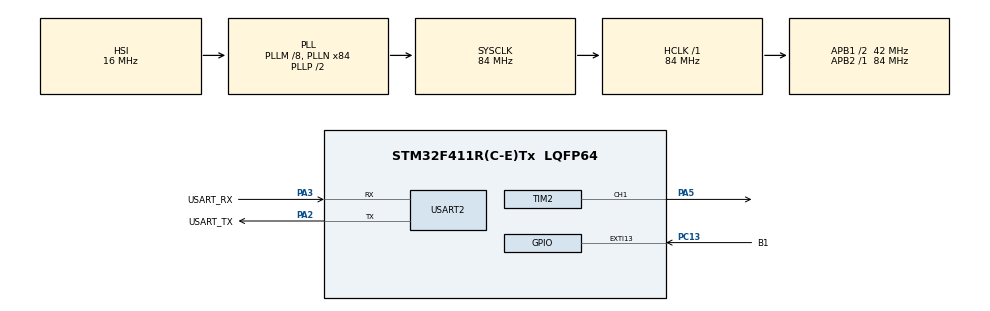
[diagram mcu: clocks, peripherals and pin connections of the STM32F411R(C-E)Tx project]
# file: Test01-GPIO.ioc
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Mcu.Family=STM32F4
Mcu.Name=STM32F411R(C-E)Tx
Mcu.Package=LQFP64
NVIC.EXTI15_10_IRQn=true\:0\:0\:false\:false\:true\:true\:true\:true
NVIC.PriorityGroup=NVIC_PRIORITYGROUP_0
NVIC.TIM3_IRQn=true\:0\:0\:false\:false\:true\:true\:true\:true
PA13.GPIO_Label=TMS
PA13.Mode=Serial_Wire
PA13.Signal=SYS_JTMS-SWDIO
PA14.GPIO_Label=TCK
PA14.Mode=Serial_Wire
PA14.Signal=SYS_JTCK-SWCLK
PA2.GPIO_Label=USART_TX
PA2.Mode=Asynchronous
PA2.Signal=USART2_TX
PA3.GPIO_Label=USART_RX
PA3.Mode=Asynchronous
PA3.Signal=USART2_RX
PA5.Signal=S_TIM2_CH1_ETR
PB3.GPIO_Label=SWO
PB3.Signal=SYS_JTDO-SWO
PC13-ANTI_TAMP.GPIO_Label=B1
PC13-ANTI_TAMP.GPIO_ModeDefaultEXTI=GPIO_MODE_IT_RISING_FALLING
PC13-ANTI_TAMP.Signal=GPXTI13
PC14-OSC32_IN.Mode=LSE-External-Oscillator
PC14-OSC32_IN.Signal=RCC_OSC32_IN
PC15-OSC32_OUT.Mode=LSE-External-Oscillator
PC15-OSC32_OUT.Signal=RCC_OSC32_OUT
PH0\ -\ OSC_IN.Mode=HSE-External-Clock-Source
PH0\ -\ OSC_IN.Signal=RCC_OSC_IN
PH1\ -\ OSC_OUT.Mode=HSE-External-Clock-Source
PH1\ -\ OSC_OUT.Signal=RCC_OSC_OUT
ProjectManager.HeapSize=0x200
ProjectManager.StackSize=0x400
ProjectManager.TargetToolchain=STM32CubeIDE
RCC.48MHZClocksFreq_Value=42000000
RCC.AHBFreq_Value=84000000
RCC.APB1CLKDivider=RCC_HCLK_DIV2
RCC.APB1Freq_Value=42000000
RCC.APB1TimFreq_Value=84000000
RCC.APB2Freq_Value=84000000
RCC.APB2TimFreq_Value=84000000
RCC.CortexFreq_Value=84000000
RCC.FLatency-AdvancedSettings=FLASH_LATENCY_2
RCC.HCLKFreq_Value=84000000
RCC.HSE_VALUE=8000000
RCC.HSI_VALUE=16000000
RCC.PLLM=8
RCC.PLLN=84
RCC.SYSCLKFreq_VALUE=84000000
RCC.SYSCLKSource=RCC_SYSCLKSOURCE_PLLCLK
RCC.VCOOutputFreq_Value=168000000
SH.S_TIM2_CH1_ETR.0=TIM2_CH1,PWM Generation1 CH1
TIM2.Channel-PWM\ Generation1\ CH1=TIM_CHANNEL_1
TIM2.Period=1000-1
TIM2.Prescaler=84-1
TIM3.Period=5000-1
TIM3.Prescaler=8400-1
TIM5.Prescaler=84-1
USART2.VirtualMode=VM_ASYNC
VP_TIM2_VS_ClockSourceINT.Mode=Internal
VP_TIM3_VS_ClockSourceINT.Mode=Internal
VP_TIM5_VS_ClockSourceINT.Mode=Internal
board=NUCLEO-F411RE

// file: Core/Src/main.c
/* USER CODE BEGIN Header */
/**
  ******************************************************************************
  * @file           : main.c
  * @brief          : Main program body
  ******************************************************************************
  * @attention
  *
  * Copyright (c) 2023 STMicroelectronics.
  * All rights reserved.
  *
  * This software is licensed under terms that can be found in the LICENSE file
  * in the root directory of this software component.
  * If no LICENSE file comes with this software, it is provided AS-IS.
  *
  ******************************************************************************
  */
/* USER CODE END Header */
#include "main.h"

TIM_HandleTypeDef htim2;
TIM_HandleTypeDef htim3;
TIM_HandleTypeDef htim5;

UART_HandleTypeDef huart2;

void SystemClock_Config(void);
static void MX_GPIO_Init(void);
static void MX_USART2_UART_Init(void);
static void MX_TIM3_Init(void);
static void MX_TIM5_Init(void);
static void MX_TIM2_Init(void);

/* USER CODE BEGIN 0 */
#define STEP 10
int val = 0;
int gap = 0;  // val 값에 따라 AAR까지 도달하는 단계값
int flag = 1;
void HAL_GPIO_EXTI_Callback(uint16_t GPIO_Pin)
{
	//val = HAL_GPIO_ReadPin(B1_GPIO_Port, B1_Pin);
	if(val++ > STEP) val = 0;
	//if(val == 0) val = 1; else val = 0;
	//if(val++ > 4) val = 0;  // val 0 ~ 5
	//flag = 1;
}
int cnt = 0;
void HAL_TIM_PeriodElapsedCallback(TIM_HandleTypeDef *htim)
{
	//HAL_GPIO_TogglePin(LD2_GPIO_Port, LD2_Pin);
	printf("\033[10;30HTimer3...%d\n", cnt++);
}
void myDelay(int interval)  // microsecond delay, interval:microsec.
{
//	volatile int start = htim5.Instance->CNT;
	htim5.Instance->CNT = 0;
	while(1)
	{
		//volatile int cur = htim5.Instance->CNT;
		if(htim5.Instance->CNT > interval) return;
	}
}
int __io_putchar(int ch)
{
	HAL_UART_Transmit(&huart2, &ch, 1, 10);
	return ch;
}
//int __io_getchar(void)

/* USER CODE END 0 */

int main(void)
{

  /* MCU Configuration--------------------------------------------------------*/

  /* Reset of all peripherals, Initializes the Flash interface and the Systick. */
  HAL_Init();

  /* Configure the system clock */
  SystemClock_Config();

  /* Initialize all configured peripherals */
  MX_GPIO_Init();
  MX_USART2_UART_Init();
  MX_TIM3_Init();
  MX_TIM5_Init();
  MX_TIM2_Init();
  /* USER CODE BEGIN 2 */

  printf("\033[1JProgram started......!\r\n",0x1b);

  //HAL_TIM_Base_Start_IT(&htim3);
  gap = htim2.Instance->ARR / STEP;
  HAL_TIM_Base_Start(&htim5);
  HAL_TIM_PWM_Start(&htim2, TIM_CHANNEL_1);

  /* USER CODE END 2 */

  /* Infinite loop */
  /* USER CODE BEGIN WHILE */
  int ccr = 0;
  while (1)
  {
    /* USER CODE END WHILE */

    /* USER CODE BEGIN 3 */
	  htim2.Instance->CCR1 = val * gap;
	  //if(val > STEP) val = 0;
	  myDelay(10000);
  }
  /* USER CODE END 3 */
}

void SystemClock_Config(void)
{
  RCC_OscInitTypeDef RCC_OscInitStruct = {0};
  RCC_ClkInitTypeDef RCC_ClkInitStruct = {0};

  /** Configure the main internal regulator output voltage
  */
  __HAL_RCC_PWR_CLK_ENABLE();
  __HAL_PWR_VOLTAGESCALING_CONFIG(PWR_REGULATOR_VOLTAGE_SCALE1);

  /** Initializes the RCC Oscillators according to the specified parameters
  * in the RCC_OscInitTypeDef structure.
  */
  RCC_OscInitStruct.OscillatorType = RCC_OSCILLATORTYPE_HSI;
  RCC_OscInitStruct.HSIState = RCC_HSI_ON;
  RCC_OscInitStruct.HSICalibrationValue = RCC_HSICALIBRATION_DEFAULT;
  RCC_OscInitStruct.PLL.PLLState = RCC_PLL_ON;
  RCC_OscInitStruct.PLL.PLLSource = RCC_PLLSOURCE_HSI;
  RCC_OscInitStruct.PLL.PLLM = 8;
  RCC_OscInitStruct.PLL.PLLN = 84;
  RCC_OscInitStruct.PLL.PLLP = RCC_PLLP_DIV2;
  RCC_OscInitStruct.PLL.PLLQ = 4;
  if (HAL_RCC_OscConfig(&RCC_OscInitStruct) != HAL_OK)
  {
    Error_Handler();
  }

  /** Initializes the CPU, AHB and APB buses clocks
  */
  RCC_ClkInitStruct.ClockType = RCC_CLOCKTYPE_HCLK|RCC_CLOCKTYPE_SYSCLK
                              |RCC_CLOCKTYPE_PCLK1|RCC_CLOCKTYPE_PCLK2;
  RCC_ClkInitStruct.SYSCLKSource = RCC_SYSCLKSOURCE_PLLCLK;
  RCC_ClkInitStruct.AHBCLKDivider = RCC_SYSCLK_DIV1;
  RCC_ClkInitStruct.APB1CLKDivider = RCC_HCLK_DIV2;
  RCC_ClkInitStruct.APB2CLKDivider = RCC_HCLK_DIV1;

  if (HAL_RCC_ClockConfig(&RCC_ClkInitStruct, FLASH_LATENCY_2) != HAL_OK)
  {
    Error_Handler();
  }
}

static void MX_TIM2_Init(void)
{

  TIM_ClockConfigTypeDef sClockSourceConfig = {0};
  TIM_MasterConfigTypeDef sMasterConfig = {0};
  TIM_OC_InitTypeDef sConfigOC = {0};

  htim2.Instance = TIM2;
  htim2.Init.Prescaler = 84-1;
  htim2.Init.CounterMode = TIM_COUNTERMODE_UP;
  htim2.Init.Period = 1000-1;
  htim2.Init.ClockDivision = TIM_CLOCKDIVISION_DIV1;
  htim2.Init.AutoReloadPreload = TIM_AUTORELOAD_PRELOAD_DISABLE;
  if (HAL_TIM_Base_Init(&htim2) != HAL_OK)
  {
    Error_Handler();
  }
  sClockSourceConfig.ClockSource = TIM_CLOCKSOURCE_INTERNAL;
  if (HAL_TIM_ConfigClockSource(&htim2, &sClockSourceConfig) != HAL_OK)
  {
    Error_Handler();
  }
  if (HAL_TIM_PWM_Init(&htim2) != HAL_OK)
  {
    Error_Handler();
  }
  sMasterConfig.MasterOutputTrigger = TIM_TRGO_RESET;
  sMasterConfig.MasterSlaveMode = TIM_MASTERSLAVEMODE_DISABLE;
  if (HAL_TIMEx_MasterConfigSynchronization(&htim2, &sMasterConfig) != HAL_OK)
  {
    Error_Handler();
  }
  sConfigOC.OCMode = TIM_OCMODE_PWM1;
  sConfigOC.Pulse = 0;
  sConfigOC.OCPolarity = TIM_OCPOLARITY_HIGH;
  sConfigOC.OCFastMode = TIM_OCFAST_DISABLE;
  if (HAL_TIM_PWM_ConfigChannel(&htim2, &sConfigOC, TIM_CHANNEL_1) != HAL_OK)
  {
    Error_Handler();
  }
  HAL_TIM_MspPostInit(&htim2);

}

static void MX_TIM3_Init(void)
{

  TIM_ClockConfigTypeDef sClockSourceConfig = {0};
  TIM_MasterConfigTypeDef sMasterConfig = {0};

  htim3.Instance = TIM3;
  htim3.Init.Prescaler = 8400-1;
  htim3.Init.CounterMode = TIM_COUNTERMODE_UP;
  htim3.Init.Period = 5000-1;
  htim3.Init.ClockDivision = TIM_CLOCKDIVISION_DIV1;
  htim3.Init.AutoReloadPreload = TIM_AUTORELOAD_PRELOAD_DISABLE;
  if (HAL_TIM_Base_Init(&htim3) != HAL_OK)
  {
    Error_Handler();
  }
  sClockSourceConfig.ClockSource = TIM_CLOCKSOURCE_INTERNAL;
  if (HAL_TIM_ConfigClockSource(&htim3, &sClockSourceConfig) != HAL_OK)
  {
    Error_Handler();
  }
  sMasterConfig.MasterOutputTrigger = TIM_TRGO_RESET;
  sMasterConfig.MasterSlaveMode = TIM_MASTERSLAVEMODE_DISABLE;
  if (HAL_TIMEx_MasterConfigSynchronization(&htim3, &sMasterConfig) != HAL_OK)
  {
    Error_Handler();
  }

}

static void MX_TIM5_Init(void)
{

  TIM_ClockConfigTypeDef sClockSourceConfig = {0};
  TIM_MasterConfigTypeDef sMasterConfig = {0};

  htim5.Instance = TIM5;
  htim5.Init.Prescaler = 84-1;
  htim5.Init.CounterMode = TIM_COUNTERMODE_UP;
  htim5.Init.Period = 4294967295;
  htim5.Init.ClockDivision = TIM_CLOCKDIVISION_DIV1;
  htim5.Init.AutoReloadPreload = TIM_AUTORELOAD_PRELOAD_DISABLE;
  if (HAL_TIM_Base_Init(&htim5) != HAL_OK)
  {
    Error_Handler();
  }
  sClockSourceConfig.ClockSource = TIM_CLOCKSOURCE_INTERNAL;
  if (HAL_TIM_ConfigClockSource(&htim5, &sClockSourceConfig) != HAL_OK)
  {
    Error_Handler();
  }
  sMasterConfig.MasterOutputTrigger = TIM_TRGO_RESET;
  sMasterConfig.MasterSlaveMode = TIM_MASTERSLAVEMODE_DISABLE;
  if (HAL_TIMEx_MasterConfigSynchronization(&htim5, &sMasterConfig) != HAL_OK)
  {
    Error_Handler();
  }

}

static void MX_USART2_UART_Init(void)
{

  huart2.Instance = USART2;
  huart2.Init.BaudRate = 115200;
  huart2.Init.WordLength = UART_WORDLENGTH_8B;
  huart2.Init.StopBits = UART_STOPBITS_1;
  huart2.Init.Parity = UART_PARITY_NONE;
  huart2.Init.Mode = UART_MODE_TX_RX;
  huart2.Init.HwFlowCtl = UART_HWCONTROL_NONE;
  huart2.Init.OverSampling = UART_OVERSAMPLING_16;
  if (HAL_UART_Init(&huart2) != HAL_OK)
  {
    Error_Handler();
  }

}

static void MX_GPIO_Init(void)
{
  GPIO_InitTypeDef GPIO_InitStruct = {0};

  /* GPIO Ports Clock Enable */
  __HAL_RCC_GPIOC_CLK_ENABLE();
  __HAL_RCC_GPIOH_CLK_ENABLE();
  __HAL_RCC_GPIOA_CLK_ENABLE();
  __HAL_RCC_GPIOB_CLK_ENABLE();

  /*Configure GPIO pin : B1_Pin */
  GPIO_InitStruct.Pin = B1_Pin;
  GPIO_InitStruct.Mode = GPIO_MODE_IT_RISING_FALLING;
  GPIO_InitStruct.Pull = GPIO_NOPULL;
  HAL_GPIO_Init(B1_GPIO_Port, &GPIO_InitStruct);

  /* EXTI interrupt init*/
  HAL_NVIC_SetPriority(EXTI15_10_IRQn, 0, 0);
  HAL_NVIC_EnableIRQ(EXTI15_10_IRQn);

}

void Error_Handler(void)
{
  __disable_irq();
  while (1)
  {
  }
}
